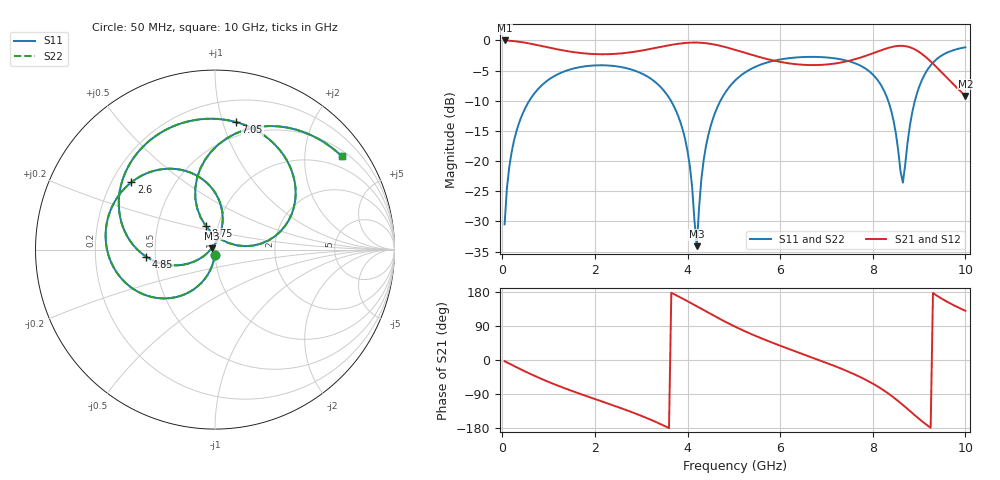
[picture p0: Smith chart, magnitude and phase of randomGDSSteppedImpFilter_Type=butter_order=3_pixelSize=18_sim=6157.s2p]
! freq	dB(S11)	phase(S11)	dB(S12)	phase(S12)
!  dB(S21)	phase(S21)	dB(S22)	phase(S22)
!S-par simulation data
#  GHz  S  DB  R 50
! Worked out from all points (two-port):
!   200 points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, 50 MHz to 10 GHz, reference 50 ohm
!   highest |S21| = -0.01 dB at 50 MHz (marker M1); lowest = -9.2 dB at 10 GHz (marker M2)
!   |S21| within 3 dB of the highest: start of sweep to 5.675 GHz; 7.666 GHz to 9.182 GHz (1.516 GHz wide, 18 % of centre)
!   lowest |S11| = -34.1 dB at 4.2 GHz (marker M3), VSWR 1.04, Z = 48.2 + j0.794 ohm
!   |S11| at or under -10 dB: start of sweep to 584.2 MHz; 3.64 GHz to 4.712 GHz (1.071 GHz wide, 25.7 % of centre); 8.331 GHz to 8.911 GHz (579.3 MHz wide, 6.72 % of centre)
!   |S22| runs from -34.3 to -1.1 dB; largest |S21 - S12| = 0
!   S11 on the Smith chart (normalised r, x): 50 MHz: 0.99, -0.06; 2.6 GHz: 0.28, +0.33; 4.85 GHz: 0.44, -0.04; 7.05 GHz: 0.38, +1.11; 8.75 GHz: 0.87, +0.23; 10 GHz: 0.65, +2.92
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0.05  -30.50 -93.3  -0.01 -3.2  -0.01 -3.2  -30.50 -93.3
0.2  -18.59 -103.1  -0.08 -12.6  -0.08 -12.6  -18.59 -103.1
0.5  -11.15 -121.2  -0.39 -30.6  -0.39 -30.6  -11.15 -121.2
1.75  -4.33 177.2  -2.13 -92.4  -2.13 -92.4  -4.33 177.2
2.6  -4.47 141.1  -2.13 -128.7  -2.13 -128.7  -4.47 141.1
3.4  -7.58 102.8  -1.10 -168.1  -1.10 -168.1  -7.58 102.8
3.95  -16.44 74.0  -0.43 158.4  -0.43 158.4  -16.45 73.9
4.2  -34.11 155.3  -0.36 141.7  -0.36 141.7  -34.30 155.6
4.3  -22.90 -150.3  -0.40 134.9  -0.40 134.9  -22.91 -149.9
4.4  -17.46 -150.3  -0.47 128.1  -0.47 128.1  -17.47 -150.1
4.85  -8.25 -174.3  -1.17 98.6  -1.17 98.6  -8.25 -174.2
5.05  -6.48 174.3  -1.61 86.6  -1.61 86.6  -6.48 174.4
5.75  -3.59 138.5  -3.15 49.5  -3.15 49.5  -3.59 138.6
6.7  -2.73 96.3  -4.09 6.2  -4.09 6.2  -2.73 96.3
7.05  -2.85 80.7  -3.96 -9.8  -3.96 -9.8  -2.85 80.7
7.85  -4.71 40.2  -2.55 -52.4  -2.55 -52.4  -4.71 40.2
8.35  -10.40 9.7  -1.21 -89.7  -1.21 -89.7  -10.40 9.7
8.65  -23.58 66.2  -0.91 -118.7  -0.91 -118.7  -23.59 66.2
8.75  -17.01 111.2  -1.02 -129.2  -1.02 -129.2  -17.01 111.3
9  -7.73 104.1  -1.91 -155.3  -1.91 -155.3  -7.73 104.2
9.35  -3.31 76.6  -4.22 172.6  -4.22 172.6  -3.31 76.6
10  -1.14 36.3  -9.23 129.9  -9.23 129.9  -1.14 36.3
